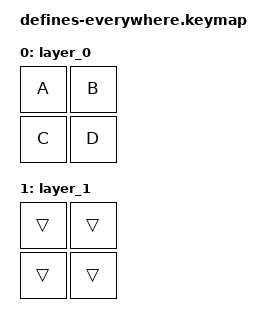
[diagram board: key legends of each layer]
/*
 * Hard .keymap corpus: #define in tapping-term-ms, key-positions, layers,
 * if-layers, and a backslash-continued alias used in a combo binding.
 * Covers R2-2 (omit unparsed blocks so Save keeps macros) and R2-7 (join `\`).
 */

#define TT 2\
80
#define LT0 0
#define LT1 1
#define BASE 0
#define LOWER 0
#define RAISE 1
#define ESC_KEY ESC

#include <behaviors.dtsi>
#include <dt-bindings/zmk/keys.h>

/ {
    behaviors {
        hm: homerow_mods {
            compatible = "zmk,behavior-hold-tap";
            tapping-term-ms = <TT>;
            flavor = "tap-preferred";
            bindings = <&kp>, <&kp>;
            #binding-cells = <2>;
        };
    };

    combos {
        compatible = "zmk,combos";
        combo_esc {
            bindings = <&kp ESC>;
            key-positions = <LT0 LT1>;
            layers = <BASE>;
        };
        combo_tab {
            bindings = <&kp ESC_KEY>;
            key-positions = <2 3>;
        };
    };

    conditional_layers {
        compatible = "zmk,conditional-layers";
        tri {
            if-layers = <LOWER RAISE>;
            then-layer = <1>;
        };
    };

    keymap {
        compatible = "zmk,keymap";

        layer_0 {
            bindings = <
&kp A &kp B
&kp C &kp D
            >;
        };

        layer_1 {
            bindings = <
&trans &trans
&trans &trans
            >;
        };
    };
};
